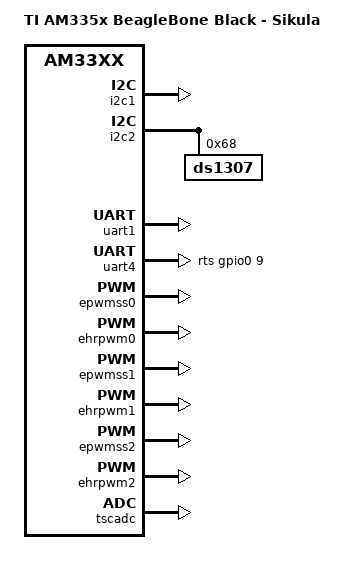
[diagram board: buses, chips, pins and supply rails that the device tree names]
/dts-v1/;

#include "am33xx.dtsi"
#include "am335x-bone-common.dtsi"
#include "am335x-boneblack-common.dtsi"

/ {
	model = "TI AM335x BeagleBone Black - Sikula";
	compatible = "ti,am335x-bone-black", "ti,am335x-bone", "ti,am33xx";
};

&cpu0_opp_table {
	/*
	 * All PG 2.0 silicon may not support 1GHz but some of the early
	 * BeagleBone Blacks have PG 2.0 silicon which is guaranteed
	 * to support 1GHz OPP so enable it for PG 2.0 on this board.
	 */
	oppnitro-1000000000 {
		opp-supported-hw = <0x06 0x0100>;
	};
};

&am33xx_pinmux {
	pinctrl-names = "default";
	pinctrl-0 = <&sikula_gpios &clkout2_pin>;

	sikula_gpios: pinmux_sikula_gpios_pins {
		pinctrl-single,pins = <
			AM33XX_PADCONF(AM335X_PIN_GPMC_ADVN_ALE, PIN_INPUT_PULLUP, MUX_MODE7) /* Jack IN */
			AM33XX_PADCONF(AM335X_PIN_GPMC_OEN_REN, PIN_INPUT, MUX_MODE7) /* CPT4 IO */
			AM33XX_PADCONF(AM335X_PIN_GPMC_BEN0_CLE, PIN_INPUT, MUX_MODE7) /* CPT5 IO */
			AM33XX_PADCONF(AM335X_PIN_GPMC_WEN, PIN_INPUT, MUX_MODE7) /* CPT6 IO */
			AM33XX_PADCONF(AM335X_PIN_GPMC_AD10, PIN_OUTPUT_PULLDOWN, MUX_MODE7) /* MOTOR_IND3 OUT */
			AM33XX_PADCONF(AM335X_PIN_GPMC_AD15, PIN_OUTPUT_PULLDOWN, MUX_MODE7) /* MOTOR_IND4 OUT */
			AM33XX_PADCONF(AM335X_PIN_GPMC_AD14, PIN_OUTPUT_PULLDOWN, MUX_MODE7) /* MOTOR_EN OUT */
			AM33XX_PADCONF(AM335X_PIN_GPMC_AD11, PIN_OUTPUT_PULLDOWN, MUX_MODE7) /* MOTOR_ING2 OUT */
			AM33XX_PADCONF(AM335X_PIN_GPMC_CLK, PIN_OUTPUT_PULLDOWN, MUX_MODE7) /* MOTOR_ING1 OUT */
			AM33XX_PADCONF(AM335X_PIN_GPMC_CSN0, PIN_OUTPUT_PULLDOWN, MUX_MODE7) /* TRSL_BIDI_OE123 OUT */
			AM33XX_PADCONF(AM335X_PIN_LCD_VSYNC, PIN_OUTPUT_PULLDOWN, MUX_MODE7) /* LED0 OUT */
			AM33XX_PADCONF(AM335X_PIN_LCD_PCLK, PIN_OUTPUT_PULLDOWN, MUX_MODE7) /* LED1 OUT */
			AM33XX_PADCONF(AM335X_PIN_LCD_HSYNC, PIN_OUTPUT_PULLDOWN, MUX_MODE7) /* LED2 OUT */
			AM33XX_PADCONF(AM335X_PIN_LCD_AC_BIAS_EN, PIN_OUTPUT_PULLDOWN, MUX_MODE7) /* LED3 OUT */
			AM33XX_PADCONF(AM335X_PIN_LCD_DATA14, PIN_INPUT_PULLUP, MUX_MODE7) /* BP9 IN */
			AM33XX_PADCONF(AM335X_PIN_LCD_DATA15, PIN_INPUT_PULLUP, MUX_MODE7) /* BP8 IN */
			AM33XX_PADCONF(AM335X_PIN_LCD_DATA11, PIN_OUTPUT_PULLDOWN, MUX_MODE7) /* MOS11 OUT */
			AM33XX_PADCONF(AM335X_PIN_LCD_DATA12, PIN_INPUT_PULLUP, MUX_MODE7) /* BP7 IN */
			AM33XX_PADCONF(AM335X_PIN_LCD_DATA10, PIN_OUTPUT_PULLDOWN, MUX_MODE7) /* MOS12 OUT */
			AM33XX_PADCONF(AM335X_PIN_LCD_DATA8, PIN_INPUT_PULLUP, MUX_MODE7) /* BP6 IN */
			AM33XX_PADCONF(AM335X_PIN_LCD_DATA9, PIN_INPUT_PULLUP, MUX_MODE7) /* BP5 IN */
			AM33XX_PADCONF(AM335X_PIN_LCD_DATA6, PIN_OUTPUT_PULLDOWN, MUX_MODE7) /* MOS21 OUT */
			AM33XX_PADCONF(AM335X_PIN_LCD_DATA7, PIN_OUTPUT_PULLDOWN, MUX_MODE7) /* MOS22 OUT */
			AM33XX_PADCONF(AM335X_PIN_LCD_DATA4, PIN_OUTPUT_PULLDOWN, MUX_MODE7) /* LED4 OUT */
			AM33XX_PADCONF(AM335X_PIN_LCD_DATA5, PIN_OUTPUT_PULLDOWN, MUX_MODE7) /* LED5 OUT */
			AM33XX_PADCONF(AM335X_PIN_LCD_DATA2, PIN_OUTPUT_PULLDOWN, MUX_MODE7) /* LED6 OUT */
			AM33XX_PADCONF(AM335X_PIN_LCD_DATA3, PIN_OUTPUT_PULLDOWN, MUX_MODE7) /* LED7 OUT */
			AM33XX_PADCONF(AM335X_PIN_LCD_DATA0, PIN_OUTPUT_PULLDOWN, MUX_MODE7) /* MOS31 OUT */
			AM33XX_PADCONF(AM335X_PIN_LCD_DATA1, PIN_OUTPUT_PULLDOWN, MUX_MODE7) /* MOS32 OUT */
			AM33XX_PADCONF(AM335X_PIN_GPMC_BEN1, PIN_OUTPUT_PULLDOWN, MUX_MODE7) /* AX12_EN_REG OUT */
			AM33XX_PADCONF(AM335X_PIN_GPMC_A0, PIN_INPUT, MUX_MODE7) /* CPT5V5 IO */
			AM33XX_PADCONF(AM335X_PIN_GPMC_A1, PIN_INPUT_PULLUP, MUX_MODE7) /* SERIAL2_DIR2 IN */
			AM33XX_PADCONF(AM335X_PIN_MCASP0_AHCLKR, PIN_INPUT_PULLUP, MUX_MODE7) /* BP4 IN */
			AM33XX_PADCONF(AM335X_PIN_MCASP0_FSX, PIN_INPUT_PULLUP, MUX_MODE7) /* BP3 IN */
			AM33XX_PADCONF(AM335X_PIN_MCASP0_AXR0, PIN_INPUT_PULLUP, MUX_MODE7) /* BP2 IN */
			AM33XX_PADCONF(AM335X_PIN_MCASP0_ACLKX, PIN_INPUT_PULLUP, MUX_MODE7) /* BP1 IN */
			AM33XX_PADCONF(AM335X_PIN_XDMA_EVENT_INTR1, PIN_OUTPUT_PULLDOWN, MUX_MODE7) /* SERIAL2_EN2 (1/2) OUT */
			AM33XX_PADCONF(AM335X_PIN_MCASP0_AXR1, PIN_INPUT, MUX_MODE7) /* SERIAL2_EN2 (2/2) disabled with INPUT */
		>;
	};
	sikula_pwm0: pinmux_sikula_pwm0_pins {
		pinctrl-single,pins = <
			AM33XX_PADCONF(AM335X_PIN_SPI0_D0, PIN_OUTPUT, MUX_MODE3) /* SERVO3 */
			AM33XX_PADCONF(AM335X_PIN_SPI0_SCLK, PIN_OUTPUT, MUX_MODE3) /* SERVO4 */
		>;
	};
	sikula_eqep0: pinmux_sikula_eqep0_pins {
		pinctrl-single,pins = <
			AM33XX_PADCONF(AM335X_PIN_MCASP0_ACLKR, PIN_INPUT_PULLUP, MUX_MODE1) /* CODER_L_A (1/2) QEP_INPUT */
			AM33XX_PADCONF(AM335X_PIN_ECAP0_IN_PWM0_OUT, PIN_INPUT, MUX_MODE7) /* CODER_L_A (2/2) disabled with INPUT */
			AM33XX_PADCONF(AM335X_PIN_MCASP0_FSR, PIN_INPUT_PULLUP, MUX_MODE1) /* CODER_L_B */
		>;
	};
	sikula_pwm1: pinmux_sikula_pwm1_pins {
		pinctrl-single,pins = <
			AM33XX_PADCONF(AM335X_PIN_GPMC_A2, PIN_OUTPUT, MUX_MODE6) /* SERVO1 */
			AM33XX_PADCONF(AM335X_PIN_GPMC_A3, PIN_OUTPUT, MUX_MODE6) /* SERVO2 */
		>;
	};
	sikula_pwm2: pinmux_sikula_pwm2_pins {
		pinctrl-single,pins = <
			AM33XX_PADCONF(AM335X_PIN_GPMC_AD9, PIN_OUTPUT, MUX_MODE4) /* MOTOR PWM R */
			AM33XX_PADCONF(AM335X_PIN_GPMC_AD8, PIN_OUTPUT, MUX_MODE4) /* MOTOR PWM L */
		>;
	};
	sikula_eqep2: pinmux_sikula_eqep2_pins {
		pinctrl-single,pins = <
			AM33XX_PADCONF(AM335X_PIN_GPMC_AD12, PIN_INPUT_PULLUP, MUX_MODE4) /* CODER_R_A */
			AM33XX_PADCONF(AM335X_PIN_GPMC_AD13, PIN_INPUT_PULLUP, MUX_MODE4) /* CODER_R_B */
		>;
	};
	sikula_i2c1: pinmux_sikula_i2c1_pins {
		pinctrl-single,pins = <
			AM33XX_PADCONF(AM335X_PIN_SPI0_CS0, PIN_INPUT_PULLUP, MUX_MODE2) /* I2C1_SCL */
			AM33XX_PADCONF(AM335X_PIN_SPI0_D1, PIN_INPUT_PULLUP, MUX_MODE2) /* I2C1_SDA */
		>;
	};
	sikula_i2c2: pinmux_sikula_i2c2_pins {
		pinctrl-single,pins = <
			AM33XX_PADCONF(AM335X_PIN_UART1_RTSN, PIN_INPUT_PULLUP, MUX_MODE3) /* I2C2_SCL */
			AM33XX_PADCONF(AM335X_PIN_UART1_CTSN, PIN_INPUT_PULLUP, MUX_MODE3) /* I2C2_SDA */
		>;
	};
	sikula_uart1: pinmux_sikula_uart1_pins {
		pinctrl-single,pins = <
			AM33XX_PADCONF(AM335X_PIN_UART1_TXD, PIN_OUTPUT, MUX_MODE0) /* SERIAL2_TXD2 */
			AM33XX_PADCONF(AM335X_PIN_UART1_RXD, PIN_INPUT_PULLUP, MUX_MODE0) /* SERIAL2_RXD2 */
		>;
	};
	sikula_uart4: pinmux_sikula_uart4_pins {
		pinctrl-single,pins = <
			AM33XX_PADCONF(AM335X_PIN_GPMC_WAIT0, PIN_INPUT, MUX_MODE6) /* AX12_RX */
			AM33XX_PADCONF(AM335X_PIN_GPMC_WPN, PIN_OUTPUT, MUX_MODE6) /* AX12_TX */
			AM33XX_PADCONF(AM335X_PIN_LCD_DATA13, PIN_OUTPUT_PULLDOWN, MUX_MODE7) /* AX12_DIRECTION */
		>;
	};
};

&i2c1 {
	status = "okay";
	pinctrl-names = "default";
	pinctrl-0 = <&sikula_i2c1>;
};

&i2c2 {
	status = "okay";
	pinctrl-names = "default";
	pinctrl-0 = <&sikula_i2c2>;

	ds1307@68 {
		compatible = "ds1307";
		reg = <0x68>;
		status = "okay";
	};
};

&uart1 {
	status = "okay";
	pinctrl-names = "default";
	pinctrl-0 = <&sikula_uart1>;
};

&uart4 {
	status = "okay";
	pinctrl-names = "default";
	pinctrl-0 = <&sikula_uart4>;
	rs485-rts-delay = <0 0>;
	rs485-rts-active-high;
	rts-gpios = <&gpio0 9 GPIO_ACTIVE_HIGH>;
	linux,rs485-enabled-at-boot-time;
};

&epwmss0 {
	status = "okay";
};

&ehrpwm0 {
	status = "okay";
	pinctrl-names = "default";
	pinctrl-0 = <&sikula_pwm0>;
};

&epwmss0 {
	eqep0: counter@180 {
		compatible = "ti,am3352-eqep";
		reg = <0x180 0x80>;
		clocks = <&l4ls_gclk>;
		clock-names = "fck";
		interrupts = <79>;

		status = "okay";
		pinctrl-names = "default";
		pinctrl-0 = <&sikula_eqep0>;
	};
};

&epwmss1 {
	status = "okay";
};

&ehrpwm1 {
	status = "okay";
	pinctrl-names = "default";
	pinctrl-0 = <&sikula_pwm1>;
};

&epwmss2 {
	status = "okay";
};

&ehrpwm2 {
	status = "okay";
	pinctrl-names = "default";
	pinctrl-0 = <&sikula_pwm2>;
};

&epwmss2 {
	eqep2: counter@180 {
		compatible = "ti,am3352-eqep";
		reg = <0x180 0x80>;
		clocks = <&l4ls_gclk>;
		clock-names = "fck";
		interrupts = <89>;

		status = "okay";
		pinctrl-names = "default";
		pinctrl-0 = <&sikula_eqep2>;
	};
};

&rtc {
	status = "disabled";
};

&tscadc {
	status = "okay";
	adc {
		ti,adc-channels = <0 1 2 3 4 5 6 7>;
	};
};
